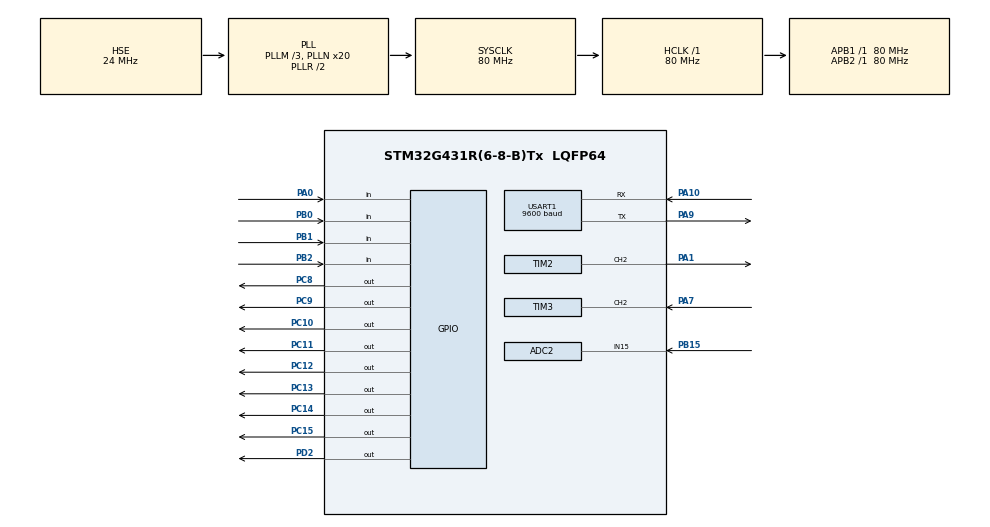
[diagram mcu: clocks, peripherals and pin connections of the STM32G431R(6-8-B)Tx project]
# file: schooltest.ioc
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ADC2.Channel-0\#ChannelRegularConversion=ADC_CHANNEL_15
ADC2.NbrOfConversionFlag=1
ADC2.OffsetNumber-0\#ChannelRegularConversion=ADC_OFFSET_NONE
ADC2.Rank-0\#ChannelRegularConversion=1
ADC2.SamplingTime-0\#ChannelRegularConversion=ADC_SAMPLETIME_2CYCLES_5
Mcu.Family=STM32G4
Mcu.Name=STM32G431R(6-8-B)Tx
Mcu.Package=LQFP64
NVIC.PriorityGroup=NVIC_PRIORITYGROUP_4
NVIC.TIM2_IRQn=true\:0\:0\:false\:false\:true\:true\:true\:true
NVIC.TIM3_IRQn=true\:0\:0\:false\:false\:true\:true\:true\:true
NVIC.USART1_IRQn=true\:0\:0\:false\:false\:true\:true\:true\:true
PA0.Signal=GPIO_Input
PA1.Signal=S_TIM2_CH2
PA10.Mode=Asynchronous
PA10.Signal=USART1_RX
PA13.Mode=Serial_Wire
PA13.Signal=SYS_JTMS-SWDIO
PA14.Mode=Serial_Wire
PA14.Signal=SYS_JTCK-SWCLK
PA7.Signal=S_TIM3_CH2
PA9.Mode=Asynchronous
PA9.Signal=USART1_TX
PB0.Signal=GPIO_Input
PB1.Signal=GPIO_Input
PB15.Mode=IN15-Single-Ended
PB15.Signal=ADC2_IN15
PB2.Signal=GPIO_Input
PC10.Signal=GPIO_Output
PC11.Signal=GPIO_Output
PC12.Signal=GPIO_Output
PC13.Signal=GPIO_Output
PC14-OSC32_IN.Signal=GPIO_Output
PC15-OSC32_OUT.Signal=GPIO_Output
PC8.PinState=GPIO_PIN_RESET
PC8.Signal=GPIO_Output
PC9.Signal=GPIO_Output
PD2.Signal=GPIO_Output
PF0-OSC_IN.Mode=HSE-External-Oscillator
PF0-OSC_IN.Signal=RCC_OSC_IN
PF1-OSC_OUT.Mode=HSE-External-Oscillator
PF1-OSC_OUT.Signal=RCC_OSC_OUT
ProjectManager.HeapSize=0x200
ProjectManager.StackSize=0x400
ProjectManager.TargetToolchain=MDK-ARM V5
RCC.ADC12Freq_Value=80000000
RCC.AHBFreq_Value=80000000
RCC.APB1Freq_Value=80000000
RCC.APB1TimFreq_Value=80000000
RCC.APB2Freq_Value=80000000
RCC.APB2TimFreq_Value=80000000
RCC.CortexFreq_Value=80000000
RCC.EXTERNAL_CLOCK_VALUE=12288000
RCC.HCLKFreq_Value=80000000
RCC.HSE_VALUE=24000000
RCC.HSI48_VALUE=48000000
RCC.HSI_VALUE=16000000
RCC.LSE_VALUE=32768
RCC.PLLM=RCC_PLLM_DIV3
RCC.PLLN=20
RCC.PLLSourceVirtual=RCC_PLLSOURCE_HSE
RCC.RTCClockSelection=RCC_RTCCLKSOURCE_HSE_DIV32
RCC.SYSCLKFreq_VALUE=80000000
RCC.SYSCLKSource=RCC_SYSCLKSOURCE_PLLCLK
RCC.USBFreq_Value=80000000
RCC.VCOOutputFreq_Value=160000000
RTC.AsynchPrediv=125
RTC.Hours=23
RTC.Minutes=59
RTC.Seconds=50
RTC.SynchPrediv=6000
SH.S_TIM2_CH2.0=TIM2_CH2,Output Compare2 CH2
SH.S_TIM3_CH2.0=TIM3_CH2,Input_Capture2_from_TI2
SH.S_TIM3_CH2.1=TIM3_CH2,TriggerSource_TI2FP2
TIM2.Channel-Output\ Compare2\ CH2=TIM_CHANNEL_2
TIM2.OCMode_2=TIM_OCMODE_TOGGLE
TIM2.PeriodNoDither=492496
TIM2.Prescaler=79
TIM2.PulseNoDither_2=500
TIM3.Channel-Input_Capture1_from_TI2_63=TIM_CHANNEL_1
TIM3.Channel-Input_Capture2_from_TI2=TIM_CHANNEL_2
TIM3.ICPolarity_CH1=TIM_INPUTCHANNELPOLARITY_FALLING
TIM3.Prescaler=79
USART1.BaudRate=9600
USART1.VirtualMode-Asynchronous=VM_ASYNC
VP_RTC_VS_RTC_Activate.Mode=RTC_Enabled
VP_RTC_VS_RTC_Calendar.Mode=RTC_Calendar
VP_SYS_VS_DBSignals.Mode=DisableDeadBatterySignals
VP_TIM2_VS_ClockSourceINT.Mode=Internal
VP_TIM3_VS_ClockSourceINT.Mode=Internal
VP_TIM3_VS_ControllerModeReset.Mode=Reset Mode
VP_TIM3_VS_indirect_ch2.Mode=Input_Capture1_from_TI2_63
board=custom

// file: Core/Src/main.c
/* USER CODE BEGIN Header */
/**
  ******************************************************************************
  * @file           : main.c
  * @brief          : Main program body
  ******************************************************************************
  * @attention
  *
  * Copyright (c) 2024 STMicroelectronics.
  * All rights reserved.
  *
  * This software is licensed under terms that can be found in the LICENSE file
  * in the root directory of this software component.
  * If no LICENSE file comes with this software, it is provided AS-IS.
  *
  ******************************************************************************
  */
/* USER CODE END Header */
#include "main.h"
#include "adc.h"
#include "rtc.h"
#include "tim.h"
#include "usart.h"
#include "gpio.h"

/* USER CODE BEGIN Includes */
#include "Bsp_LED.h"
#include "Bsp_Test.h"
#include "lcd.h"
#include "i2c_hal.h"
/* USER CODE END Includes */

void SystemClock_Config(void);

int main(void)
{

  /* MCU Configuration--------------------------------------------------------*/

  /* Reset of all peripherals, Initializes the Flash interface and the Systick. */
  HAL_Init();

  /* Configure the system clock */
  SystemClock_Config();

  /* Initialize all configured peripherals */
  MX_GPIO_Init();
  MX_RTC_Init();
  MX_TIM2_Init();
  MX_TIM3_Init();
  MX_ADC2_Init();
  MX_USART1_UART_Init();
  /* USER CODE BEGIN 2 */
	I2CInit();
	LCD_Init();
	LCD_Clear(Black);
	LCD_SetBackColor(Black);
	LCD_SetTextColor(White);
	__HAL_RCC_RTC_ENABLE();

	HAL_TIM_OC_Start_IT(&htim2,TIM_CHANNEL_2);

	HAL_TIM_IC_Start_IT(&htim3,TIM_CHANNEL_2);
	HAL_TIM_IC_Start_IT(&htim3,TIM_CHANNEL_1);
	HAL_TIM_Base_Start(&htim3);

  /* USER CODE END 2 */

  /* Infinite loop */
  while (1)
  {

    /* USER CODE BEGIN 3 */
		led_proc();
		lcd_proc();
		rtc_proc();
		key_proc();
		uart_proc();

  }
  /* USER CODE END 3 */
}

void SystemClock_Config(void)
{
  RCC_OscInitTypeDef RCC_OscInitStruct = {0};
  RCC_ClkInitTypeDef RCC_ClkInitStruct = {0};

  /** Configure the main internal regulator output voltage
  */
  HAL_PWREx_ControlVoltageScaling(PWR_REGULATOR_VOLTAGE_SCALE1);

  /** Initializes the RCC Oscillators according to the specified parameters
  * in the RCC_OscInitTypeDef structure.
  */
  RCC_OscInitStruct.OscillatorType = RCC_OSCILLATORTYPE_HSE;
  RCC_OscInitStruct.HSEState = RCC_HSE_ON;
  RCC_OscInitStruct.PLL.PLLState = RCC_PLL_ON;
  RCC_OscInitStruct.PLL.PLLSource = RCC_PLLSOURCE_HSE;
  RCC_OscInitStruct.PLL.PLLM = RCC_PLLM_DIV3;
  RCC_OscInitStruct.PLL.PLLN = 20;
  RCC_OscInitStruct.PLL.PLLP = RCC_PLLP_DIV2;
  RCC_OscInitStruct.PLL.PLLQ = RCC_PLLQ_DIV2;
  RCC_OscInitStruct.PLL.PLLR = RCC_PLLR_DIV2;
  if (HAL_RCC_OscConfig(&RCC_OscInitStruct) != HAL_OK)
  {
    Error_Handler();
  }

  /** Initializes the CPU, AHB and APB buses clocks
  */
  RCC_ClkInitStruct.ClockType = RCC_CLOCKTYPE_HCLK|RCC_CLOCKTYPE_SYSCLK
                              |RCC_CLOCKTYPE_PCLK1|RCC_CLOCKTYPE_PCLK2;
  RCC_ClkInitStruct.SYSCLKSource = RCC_SYSCLKSOURCE_PLLCLK;
  RCC_ClkInitStruct.AHBCLKDivider = RCC_SYSCLK_DIV1;
  RCC_ClkInitStruct.APB1CLKDivider = RCC_HCLK_DIV1;
  RCC_ClkInitStruct.APB2CLKDivider = RCC_HCLK_DIV1;

  if (HAL_RCC_ClockConfig(&RCC_ClkInitStruct, FLASH_LATENCY_2) != HAL_OK)
  {
    Error_Handler();
  }
}

void Error_Handler(void)
{
  __disable_irq();
  while (1)
  {
  }
}
